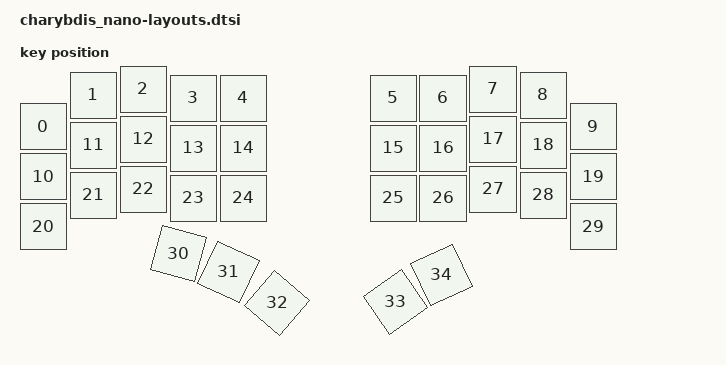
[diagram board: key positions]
#include <physical_layouts.dtsi>

/ {
    charybdis_3x5_layout: charybdis_3x5_layout {
        compatible = "zmk,physical-layout";
        display-name = "3x5 Layout";
        transform = <&charybdis_3x5_transform>;
        kscan = <&kscan0>;

        keys  //                     w   h    x    y     rot    rx    ry
            = <&key_physical_attrs 100 100    0   75       0     0     0>
            , <&key_physical_attrs 100 100  100   12       0     0     0>
            , <&key_physical_attrs 100 100  200    0       0     0     0>
            , <&key_physical_attrs 100 100  300   18       0     0     0>
            , <&key_physical_attrs 100 100  400   18       0     0     0>
            , <&key_physical_attrs 100 100  700   18       0     0     0>
            , <&key_physical_attrs 100 100  800   18       0     0     0>
            , <&key_physical_attrs 100 100  900    0       0     0     0>
            , <&key_physical_attrs 100 100 1000   12       0     0     0>
            , <&key_physical_attrs 100 100 1100   75       0     0     0>
            , <&key_physical_attrs 100 100    0  175       0     0     0>
            , <&key_physical_attrs 100 100  100  112       0     0     0>
            , <&key_physical_attrs 100 100  200  100       0     0     0>
            , <&key_physical_attrs 100 100  300  118       0     0     0>
            , <&key_physical_attrs 100 100  400  118       0     0     0>
            , <&key_physical_attrs 100 100  700  118       0     0     0>
            , <&key_physical_attrs 100 100  800  118       0     0     0>
            , <&key_physical_attrs 100 100  900  100       0     0     0>
            , <&key_physical_attrs 100 100 1000  112       0     0     0>
            , <&key_physical_attrs 100 100 1100  175       0     0     0>
            , <&key_physical_attrs 100 100    0  275       0     0     0>
            , <&key_physical_attrs 100 100  100  212       0     0     0>
            , <&key_physical_attrs 100 100  200  200       0     0     0>
            , <&key_physical_attrs 100 100  300  218       0     0     0>
            , <&key_physical_attrs 100 100  400  218       0     0     0>
            , <&key_physical_attrs 100 100  700  218       0     0     0>
            , <&key_physical_attrs 100 100  800  218       0     0     0>
            , <&key_physical_attrs 100 100  900  200       0     0     0>
            , <&key_physical_attrs 100 100 1000  212       0     0     0>
            , <&key_physical_attrs 100 100 1100  275       0     0     0>
            , <&key_physical_attrs 100 100  271  329    1500   321   379>
            , <&key_physical_attrs 100 100  371  366    2500   421   416>
            , <&key_physical_attrs 100 100  468  428    4100   518   478>
            , <&key_physical_attrs 100 100  705  426 (-3500)   755   476>
            , <&key_physical_attrs 100 100  797  372 (-2500)   847   422>
            ;
    };
};
